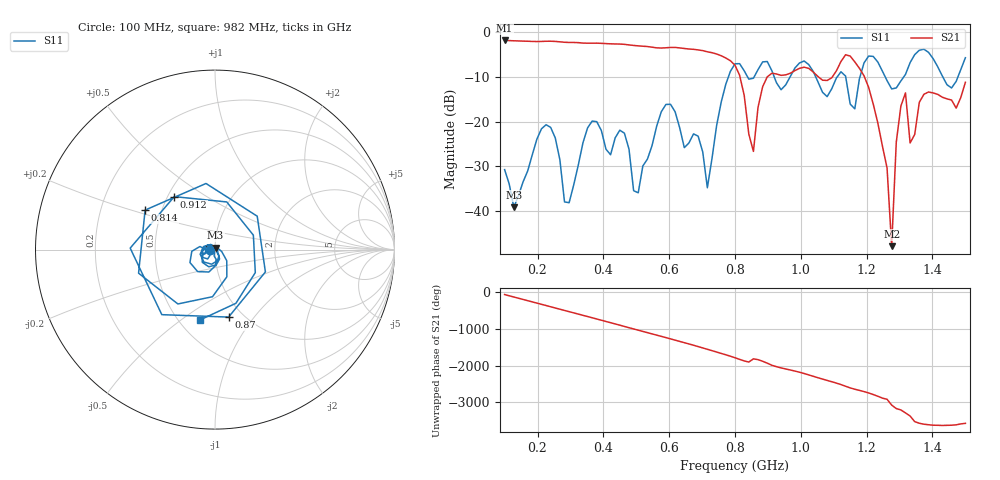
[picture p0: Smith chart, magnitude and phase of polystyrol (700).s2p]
! NanoVNA-App
! Date: 2025-09-25 15:35:20
! Start: 100MHz Stop: 1,5GHz Points: 101
! S-Parameter data: F S11 S21 S12 S22
# Hz S RI R 50
!  Frequency  S11_Real  S11_Imag  S21_Real  S21_Imag  S12_Real  S12_Imag  S22_Real  S22_Imag
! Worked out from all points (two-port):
!   101 points, 100 MHz to 1.5 GHz, reference 50 ohm
!   highest |S21| = -1.80 dB at 100 MHz (marker M1); lowest = -47.8 dB at 1.276 GHz (marker M2)
!   |S21| within 3 dB of the highest: start of sweep to 742.7 MHz
!   lowest |S11| = -39.1 dB at 128 MHz (marker M3), VSWR 1.02, Z = 50.3 + j1.05 ohm
!   |S11| at or under -10 dB: start of sweep to 779.8 MHz; 1.046 GHz to 1.11 GHz (64.57 MHz wide, 5.99 % of centre); 1.257 GHz to 1.312 GHz (55.56 MHz wide, 4.33 % of centre) (the widest 3 of 7)
!   S12 and S22 are empty: the file has one direction only
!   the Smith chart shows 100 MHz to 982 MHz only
!   S11 on the Smith chart (normalised r, x): 100 MHz: 0.94, -0.01; 814 MHz: 0.40, +0.22; 870 MHz: 0.86, -0.76; 912 MHz: 0.54, +0.37; 982 MHz: 0.63, -0.59
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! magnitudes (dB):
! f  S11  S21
! 100 MHz  -30.7  -1.8
! 128 MHz  -39.1  -1.9
! 212 MHz  -21.6  -2.0
! 282 MHz  -37.9  -2.2
! 338 MHz  -24.7  -2.4
! 506 MHz  -35.9  -3.0
! 576 MHz  -17.8  -3.5
! 716 MHz  -34.8  -4.3
! 800 MHz  -7.0  -7.3
! 814 MHz  -7.0  -9.6
! 856 MHz  -10.3  -26.6
! 870 MHz  -8.3  -16.7
! 912 MHz  -8.6  -9.1
! 982 MHz  -8.0  -8.5
! 1.038 GHz  -8.8  -8.9
! 1.192 GHz  -6.8  -9.7
! 1.262 GHz  -10.8  -30.4
! 1.276 GHz  -12.6  -47.8
! 1.29 GHz  -12.4  -24.6
! 1.318 GHz  -9.4  -13.5
! 1.332 GHz  -6.8  -24.7
! 1.5 GHz  -5.7  -11.2
